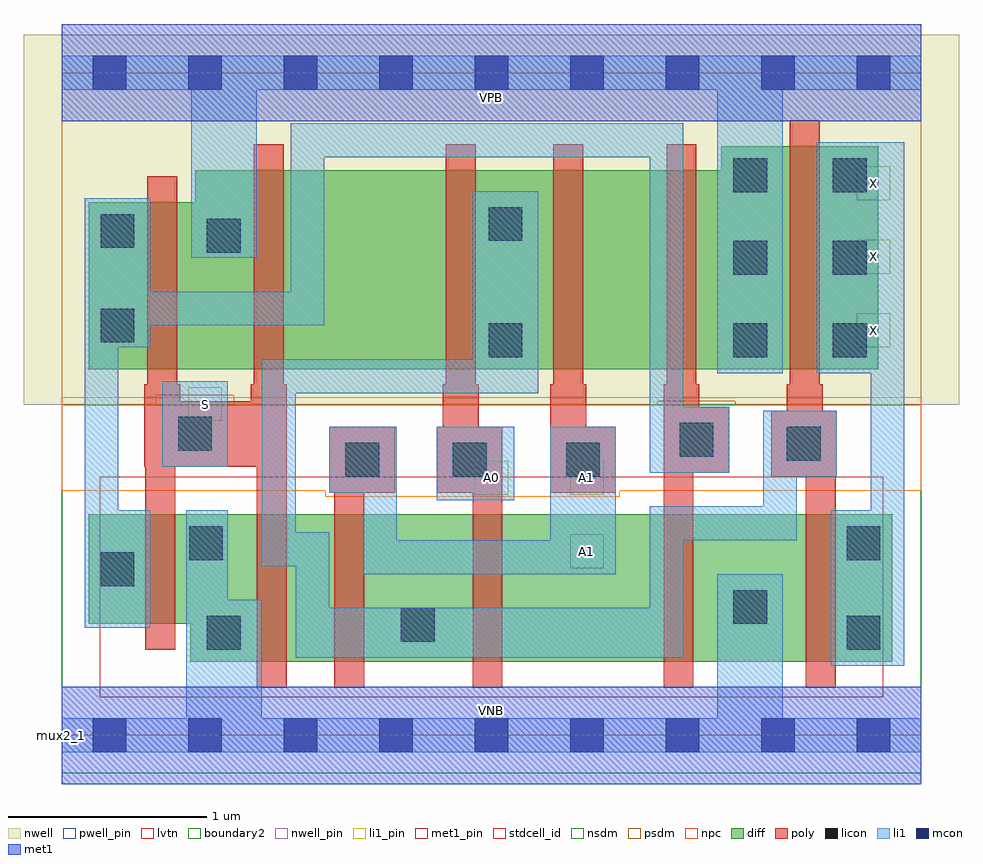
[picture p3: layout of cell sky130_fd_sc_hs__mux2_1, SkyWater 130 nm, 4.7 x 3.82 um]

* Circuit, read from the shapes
.subckt sky130_fd_sc_hs__mux2_1 A0 A1 S VGND VNB VPB VPWR X
XM1 VGND S n1 VNB sky130_fd_pr__nfet_01v8_lvt w=0.55 l=0.15
XM2 n2 S VGND VNB sky130_fd_pr__nfet_01v8_lvt w=0.74 l=0.15
XM3 n3 A1 n2 VNB sky130_fd_pr__nfet_01v8_lvt w=0.74 l=0.15
XM4 n4 A0 n3 VNB sky130_fd_pr__nfet_01v8_lvt w=0.74 l=0.15
XM5 VGND n1 n4 VNB sky130_fd_pr__nfet_01v8_lvt w=0.74 l=0.15
XM6 X n3 VGND VNB sky130_fd_pr__nfet_01v8_lvt w=0.74 l=0.15
XM7 VPWR S n1 VPB sky130_fd_pr__pfet_01v8 w=0.84 l=0.15
XM8 n5 S VPWR VPB sky130_fd_pr__pfet_01v8 w=1 l=0.15
XM9 n3 A0 n5 VPB sky130_fd_pr__pfet_01v8 w=1 l=0.15
XM10 n6 A1 n3 VPB sky130_fd_pr__pfet_01v8 w=1 l=0.15
XM11 VPWR n1 n6 VPB sky130_fd_pr__pfet_01v8 w=1 l=0.15
XM12 X n3 VPWR VPB sky130_fd_pr__pfet_01v8 w=1.12 l=0.15
.ends

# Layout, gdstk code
import gdstk
lib = gdstk.Library(unit=1e-6, precision=1e-09)
def R(c, l, rs):  # rectangles x0, y0, x1, y1
    for r in rs: c.add(gdstk.rectangle(r[:2], r[2:], *l))
def A(c, l, x, y, w, h, nx, ny, dx, dy):  # array of equal rectangles
    R(c, l, [(x+i*dx, y+j*dy, x+i*dx+w, y+j*dy+h) for i in range(nx) for j in range(ny)])
def P(c, l, *ps):  # polygons
    for p in ps: c.add(gdstk.Polygon(p, *l))
nwell_pin = (64, 16)
nwell = (64, 20)
diff = (65, 20)
poly = (66, 20)
licon = (66, 44)
li1_pin = (67, 16)
li1 = (67, 20)
mcon = (67, 44)
met1_pin = (68, 16)
met1 = (68, 20)
stdcell_id = (81, 4)
nsdm = (93, 44)
psdm = (94, 20)
npc = (95, 20)
pwell_pin = (122, 16)
lvtn = (125, 44)
boundary2 = (236, 0)

sky130_fd_sc_hs__mux2_1 = lib.new_cell('sky130_fd_sc_hs__mux2_1')
R(sky130_fd_sc_hs__mux2_1, nwell_pin, [(0,3.085,4.32,3.33)])
R(sky130_fd_sc_hs__mux2_1, nwell, [(-0.19,1.66,4.51,3.52)])
P(sky130_fd_sc_hs__mux2_1, diff, [(4.105,2.96),(3.315,2.96),(3.315,2.84),(0.67,2.84),(0.67,2.68),(0.135,2.68),(0.135,1.84),(4.105,1.84)],
  [(4.175,1.11),(0.135,1.11),(0.135,0.56),(0.645,0.56),(0.645,0.37),(4.175,0.37)])
P(sky130_fd_sc_hs__mux2_1, poly, [(1.13,1.765),(1.115,1.765),(1.115,2.97),(0.965,2.97),(0.965,1.765),(0.95,1.765),(0.95,1.68),(0.595,1.68),(0.595,1.765),(0.58,1.765),(0.58,2.81),(0.43,2.81),(0.43,1.765),(0.415,1.765),(0.415,1.35),(0.42,1.35),(0.42,0.43),(0.57,0.43),(0.57,1.35),(0.98,1.35),(0.98,0.24),(1.13,0.24)],
  [(1.675,1.55),(1.345,1.55),(1.345,1.22),(1.37,1.22),(1.37,0.24),(1.52,0.24),(1.52,1.22),(1.675,1.22)],
  [(2.215,1.55),(2.095,1.55),(2.095,1.765),(2.08,1.765),(2.08,2.97),(1.93,2.97),(1.93,1.765),(1.915,1.765),(1.915,1.55),(1.885,1.55),(1.885,1.22),(2.065,1.22),(2.065,0.24),(2.215,0.24)],
  [(2.785,1.55),(2.635,1.55),(2.635,1.765),(2.62,1.765),(2.62,2.97),(2.47,2.97),(2.47,1.765),(2.455,1.765),(2.455,1.22),(2.785,1.22)],
  [(3.355,1.65),(3.205,1.65),(3.205,1.765),(3.19,1.765),(3.19,2.97),(3.04,2.97),(3.04,1.765),(3.025,1.765),(3.025,0.24),(3.175,0.24),(3.175,1.32),(3.355,1.32)],
  [(3.895,1.63),(3.825,1.63),(3.825,1.765),(3.81,1.765),(3.81,3.09),(3.66,3.09),(3.66,1.765),(3.645,1.765),(3.645,1.63),(3.565,1.63),(3.565,1.3),(3.74,1.3),(3.74,0.24),(3.89,0.24),(3.89,1.3),(3.895,1.3)])
A(sky130_fd_sc_hs__mux2_1, licon, 3.375, 1.9, 0.17, 0.17, 1, 3, 0, 0.415)
A(sky130_fd_sc_hs__mux2_1, licon, 3.875, 1.9, 0.17, 0.17, 1, 3, 0, 0.415)
R(sky130_fd_sc_hs__mux2_1, licon, [(0.73,0.43,0.9,0.6), (3.945,0.43,4.115,0.6), (1.705,0.47,1.875,0.64), (3.375,0.56,3.545,0.73), (0.195,0.75,0.365,0.92), (0.64,0.88,0.81,1.05), (3.945,0.88,4.115,1.05), (1.425,1.3,1.595,1.47), (1.965,1.3,2.135,1.47), (2.535,1.3,2.705,1.47), (3.645,1.38,3.815,1.55), (3.105,1.4,3.275,1.57), (0.585,1.43,0.755,1.6), (2.145,1.9,2.315,2.07), (0.195,1.975,0.365,2.145), (0.73,2.425,0.9,2.595), (0.195,2.45,0.365,2.62), (2.145,2.485,2.315,2.655)])
A(sky130_fd_sc_hs__mux2_1, li1_pin, 3.995, 1.95, 0.17, 0.17, 1, 3, 0, 0.37)
R(sky130_fd_sc_hs__mux2_1, li1_pin, [(2.555,0.84,2.725,1.01), (2.075,1.21,2.245,1.38), (2.555,1.21,2.725,1.38), (0.635,1.58,0.805,1.75)])
R(sky130_fd_sc_hs__mux2_1, li1, [(1.885,1.18,2.275,1.55), (0.505,1.35,0.835,1.78)])
P(sky130_fd_sc_hs__mux2_1, li1, [(2.785,1.55),(2.455,1.55),(2.455,0.98),(1.685,0.98),(1.685,1.55),(1.345,1.55),(1.345,1.22),(1.515,1.22),(1.515,0.81),(2.785,0.81)],
  [(3.355,1.65),(3.125,1.65),(3.125,3.075),(1.15,3.075),(1.15,2.23),(0.445,2.23),(0.445,2.7),(0.115,2.7),(0.115,0.54),(0.445,0.54),(0.445,1.13),(0.285,1.13),(0.285,1.95),(0.445,1.95),(0.445,2.06),(1.32,2.06),(1.32,2.905),(2.955,2.905),(2.955,1.32),(3.355,1.32)],
  [(3.895,1.63),(3.525,1.63),(3.525,1.15),(2.955,1.15),(2.955,0.64),(1.345,0.64),(1.345,1.02),(1.175,1.02),(1.175,1.72),(2.395,1.72),(2.395,2.735),(2.065,2.735),(2.065,1.89),(1.005,1.89),(1.005,0.85),(1.175,0.85),(1.175,0.39),(3.125,0.39),(3.125,0.98),(3.695,0.98),(3.695,1.3),(3.895,1.3)],
  [(4.235,2.98),(3.795,2.98),(3.795,1.82),(4.065,1.82),(4.065,1.13),(3.865,1.13),(3.865,0.35),(4.235,0.35)],
  [(4.32,3.415),(0,3.415),(0,3.245),(0.65,3.245),(0.65,2.4),(0.98,2.4),(0.98,3.245),(3.295,3.245),(3.295,1.82),(3.625,1.82),(3.625,3.245),(4.32,3.245)],
  [(4.32,0.085),(3.625,0.085),(3.625,0.81),(3.295,0.81),(3.295,0.085),(1.005,0.085),(1.005,0.68),(0.835,0.68),(0.835,1.13),(0.625,1.13),(0.625,0.085),(0,0.085),(0,-0.085),(4.32,-0.085)])
A(sky130_fd_sc_hs__mux2_1, mcon, 0.155, -0.085, 0.17, 0.17, 9, 2, 0.48, 3.33)
R(sky130_fd_sc_hs__mux2_1, met1_pin, [(0,0,4.32,0.245), (0,3.085,4.32,3.33)])
R(sky130_fd_sc_hs__mux2_1, met1, [(0,-0.245,4.32,0.245), (0,3.085,4.32,3.575)])
R(sky130_fd_sc_hs__mux2_1, stdcell_id, [(0,0,4.32,3.33)])
R(sky130_fd_sc_hs__mux2_1, nsdm, [(0,-0.19,4.32,1.66)])
P(sky130_fd_sc_hs__mux2_1, psdm, [(4.32,3.52),(0,3.52),(0,1.66),(0.475,1.66),(0.475,1.71),(0.865,1.71),(0.865,1.66),(2.995,1.66),(2.995,1.68),(3.385,1.68),(3.385,1.66),(4.32,1.66)])
P(sky130_fd_sc_hs__mux2_1, npc, [(4.32,1.7),(0,1.7),(0,1.23),(1.325,1.23),(1.325,1.2),(2.805,1.2),(2.805,1.23),(4.32,1.23)])
R(sky130_fd_sc_hs__mux2_1, pwell_pin, [(0,0,4.32,0.245)])
R(sky130_fd_sc_hs__mux2_1, lvtn, [(0.19,0.19,4.13,1.3)])
R(sky130_fd_sc_hs__mux2_1, boundary2, [(0,0,4.32,3.33)])
sky130_fd_sc_hs__mux2_1.add(gdstk.Label('mux2_1', (0,0), layer=83, texttype=44))
sky130_fd_sc_hs__mux2_1.add(gdstk.Label('VNB', (2.16,0.123), layer=64, texttype=59))
sky130_fd_sc_hs__mux2_1.add(gdstk.Label('VPB', (2.16,3.208), layer=64, texttype=5))
sky130_fd_sc_hs__mux2_1.add(gdstk.Label('VPWR', (2.16,3.208), layer=68, texttype=5))
sky130_fd_sc_hs__mux2_1.add(gdstk.Label('VGND', (2.16,0.123), layer=68, texttype=5))
sky130_fd_sc_hs__mux2_1.add(gdstk.Label('X', (4.08,2.035), layer=67, texttype=5))
sky130_fd_sc_hs__mux2_1.add(gdstk.Label('X', (4.08,2.405), layer=67, texttype=5))
sky130_fd_sc_hs__mux2_1.add(gdstk.Label('X', (4.08,2.775), layer=67, texttype=5))
sky130_fd_sc_hs__mux2_1.add(gdstk.Label('S', (0.72,1.665), layer=67, texttype=5))
sky130_fd_sc_hs__mux2_1.add(gdstk.Label('A0', (2.16,1.295), layer=67, texttype=5))
sky130_fd_sc_hs__mux2_1.add(gdstk.Label('A1', (2.64,0.925), layer=67, texttype=5))
sky130_fd_sc_hs__mux2_1.add(gdstk.Label('A1', (2.64,1.295), layer=67, texttype=5))

lib.write_gds('sky130_fd_sc_hs__mux2_1.gds')
